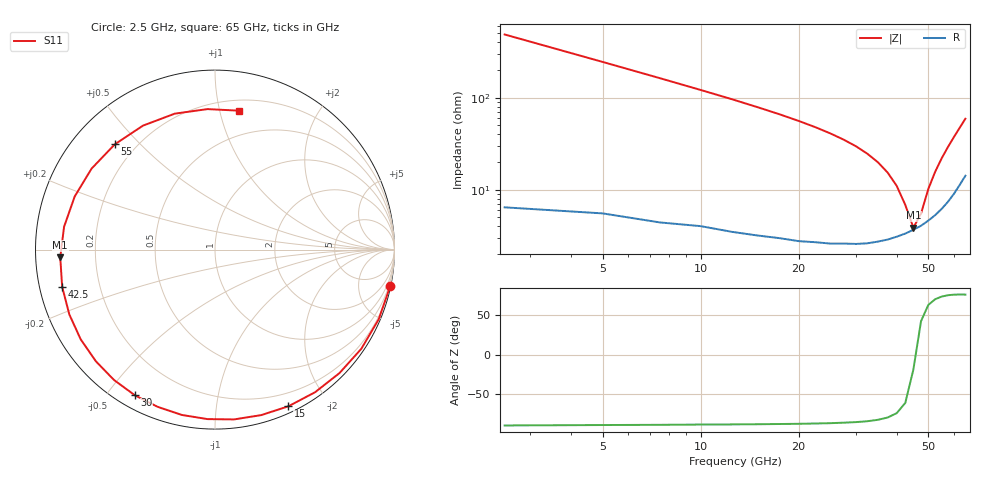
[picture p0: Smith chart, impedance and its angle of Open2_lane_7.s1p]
! File created by SignalIntegrity v1.5.1: Signal and Power Integrity Tools
! https://github.com/Nubis-Communications/SignalIntegrity
# MHz S MA R 50.0
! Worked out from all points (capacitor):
!   26 points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, 2.5 GHz to 65 GHz, reference 50 ohm
!   read as one part to ground: C = 128 fF near 2.5 GHz
!   lowest |Z| = 3.87 ohm at 45 GHz (marker M1)
!   series resonance near 45.62 GHz, so ESL is about 95 pH
!   S11 on the Smith chart (normalised r, x): 2.5 GHz: 0.13, -9.74; 15 GHz: 0.06, -1.57; 30 GHz: 0.05, -0.59; 42.5 GHz: 0.07, -0.12; 55 GHz: 0.12, +0.42; 65 GHz: 0.28, +1.15
2500  0.9973 -11.7
5000  0.9912 -23.1
7500  0.9849 -34.1
10000  0.9769 -44.7
12500  0.9707 -55.0
15000  0.964 -64.9
17500  0.9574 -74.3
20000  0.9521 -83.6
22500  0.9453 -92.5
25000  0.9396 -101.3
27500  0.9324 -110.1
30000  0.9264 -118.8
32500  0.919 -127.7
35000  0.9098 -136.8
37500  0.9 -146.3
40000  0.8884 -156.0
42500  0.8763 -166.3
45000  0.8632 -177.2
47500  0.8505 171.4
50000  0.8359 159.3
52500  0.8225 146.7
55000  0.8097 133.6
57500  0.7987 120.1
60000  0.7899 106.5
62500  0.7839 93.0
65000  0.7855 80.2
